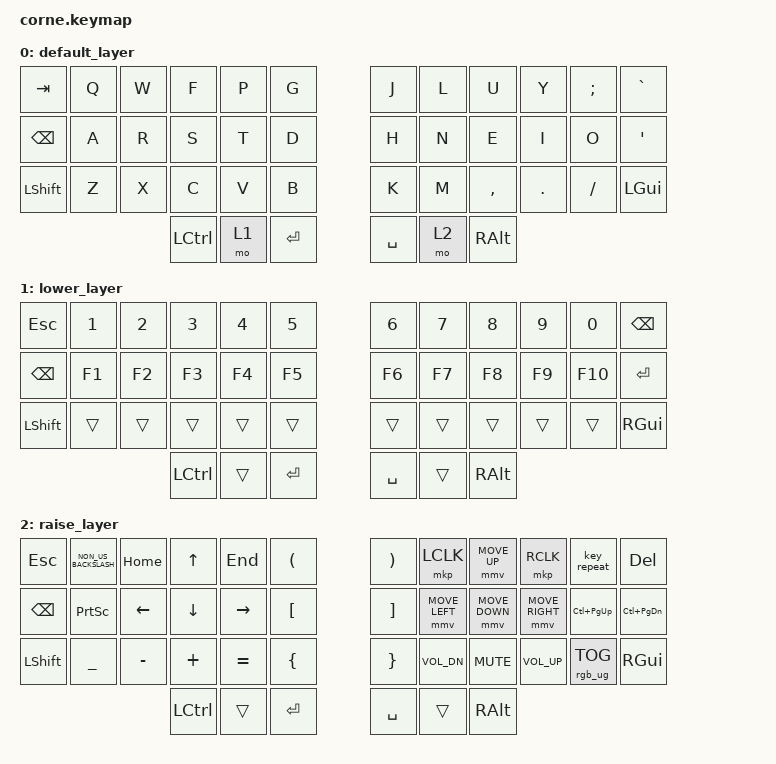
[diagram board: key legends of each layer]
/*
 * Copyright (c) 2020 The ZMK Contributors
 *
 * SPDX-License-Identifier: MIT
 */

#include <behaviors.dtsi>
#include <dt-bindings/zmk/keys.h>
#include <dt-bindings/zmk/pointing.h>
#include <dt-bindings/zmk/pointing.h>
#include <dt-bindings/zmk/rgb.h>

/ {
    behaviors {
        hm: homerow_mods {
            compatible = "zmk,behavior-hold-tap";
            #binding-cells = <2>;
            tapping-term-ms = <150>;
            quick-tap-ms = <200>;
            flavor = "tap-preferred";
            bindings = <&kp>, <&kp>;
        };
    };

    keymap {
        compatible = "zmk,keymap";

        default_layer {
            bindings = <
&kp TAB    &kp Q  &kp W  &kp F             &kp P  &kp G        &kp J      &kp L  &kp U      &kp Y    &kp SEMI  &kp GRAVE
&kp BSPC   &kp A  &kp R  &kp S             &kp T  &kp D        &kp H      &kp N  &kp E      &kp I    &kp O     &kp APOS
&kp LSHFT  &kp Z  &kp X  &kp C             &kp V  &kp B        &kp K      &kp M  &kp COMMA  &kp DOT  &kp FSLH  &kp LEFT_GUI
                         &kp LEFT_CONTROL  &mo 1  &kp ENTER    &kp SPACE  &mo 2  &kp RALT
            >;
        };

        lower_layer {
            bindings = <
&kp ESCAPE      &kp N1  &kp N2  &kp N3            &kp N4  &kp N5       &kp N6     &kp N7  &kp N8    &kp N9  &kp N0   &kp BSPC
&kp BSPC        &kp F1  &kp F2  &kp F3            &kp F4  &kp F5       &kp F6     &kp F7  &kp F8    &kp F9  &kp F10  &kp ENTER
&kp LEFT_SHIFT  &trans  &trans  &trans            &trans  &trans       &trans     &trans  &trans    &trans  &trans   &kp RIGHT_GUI
                                &kp LEFT_CONTROL  &trans  &kp ENTER    &kp SPACE  &trans  &kp RALT
            >;
        };

        raise_layer {
            bindings = <
&kp ESC         &kp NON_US_BACKSLASH  &kp HOME   &kp UP            &kp END    &kp LEFT_PARENTHESIS    &kp RIGHT_PARENTHESIS  &mkp LCLK       &mmv MOVE_UP    &mkp RCLK        &key_repeat      &kp DEL
&kp BSPC        &kp PRINTSCREEN       &kp LEFT   &kp DOWN_ARROW    &kp RIGHT  &kp LEFT_BRACKET        &kp RIGHT_BRACKET      &mmv MOVE_LEFT  &mmv MOVE_DOWN  &mmv MOVE_RIGHT  &kp LC(PG_UP)    &kp LC(PG_DN)
&kp LEFT_SHIFT  &kp UNDERSCORE        &kp MINUS  &kp PLUS          &kp EQUAL  &kp LEFT_BRACE          &kp RIGHT_BRACE        &kp C_VOL_DN    &kp C_MUTE      &kp C_VOLUME_UP  &rgb_ug RGB_TOG  &kp RIGHT_GUI
                                                 &kp LEFT_CONTROL  &trans     &kp ENTER               &kp SPACE              &trans          &kp RIGHT_ALT
            >;
        };
    };
};
